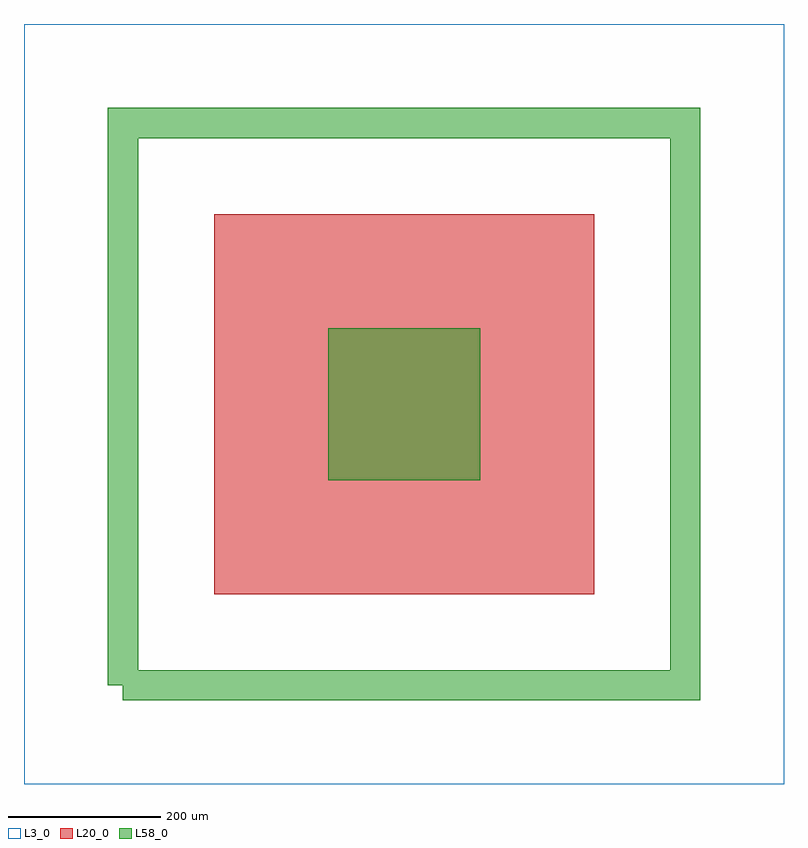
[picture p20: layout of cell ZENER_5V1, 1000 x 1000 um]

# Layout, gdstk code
import gdstk
lib = gdstk.Library(unit=1e-6, precision=1e-09)
def R(c, l, rs):  # rectangles x0, y0, x1, y1
    for r in rs: c.add(gdstk.rectangle(r[:2], r[2:], *l))
L3_0 = (3, 0)
L20_0 = (20, 0)
L58_0 = (58, 0)

chip_pin_1 = lib.new_cell('chip_pin_1')
R(chip_pin_1, L58_0, [(-100,-100,100,100)])

zener_5v1 = lib.new_cell('ZENER_5V1')
R(zener_5v1, L3_0, [(-500,-500,500,500)])
R(zener_5v1, L20_0, [(-250,-250,250,250)])
zener_5v1.add(gdstk.FlexPath([(-370,-370),(370,-370),(370,370),(-370,370),(-370,-370)], 40, ends="flush", simple_path=True, layer=58, datatype=0))  # L58_0
zener_5v1.add(gdstk.Reference(chip_pin_1, (0,0)))

lib.write_gds('ZENER_5V1.gds')
